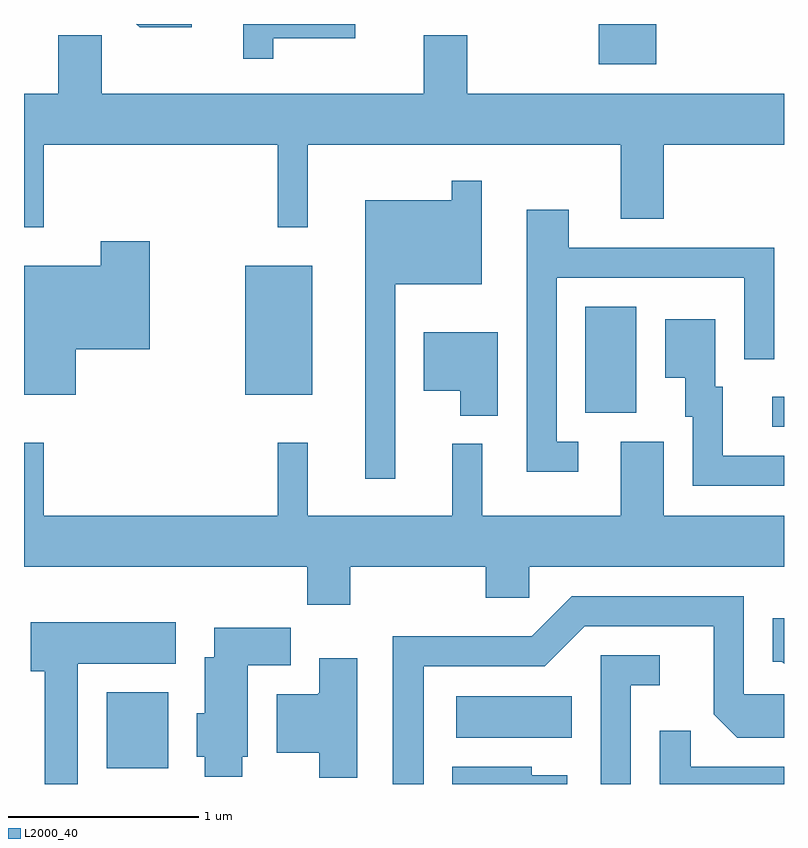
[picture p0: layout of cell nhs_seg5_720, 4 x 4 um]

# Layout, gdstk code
import gdstk
lib = gdstk.Library(unit=1e-6, precision=1e-09)
def R(c, l, rs):  # rectangles x0, y0, x1, y1
    for r in rs: c.add(gdstk.rectangle(r[:2], r[2:], *l))
def P(c, l, *ps):  # polygons
    for p in ps: c.add(gdstk.Polygon(p, *l))
L2000_40 = (2000, 40)

nhs_seg5_720 = lib.new_cell('nhs_seg5_720')
R(nhs_seg5_720, L2000_40, [(206.046,1480.156,206.369,1480.554), (207.886,1480.316,208.494,1480.534), (209.548,1481.951,209.611,1482.109), (208.566,1482.026,208.834,1482.584), (206.776,1482.121,207.129,1482.799), (208.636,1483.861,208.939,1484.072), (208.231,1484.071,208.464,1484.072)])
P(nhs_seg5_720, L2000_40, [(206.924,1483.996),(207.354,1483.996),(207.354,1484.072),(206.766,1484.072),(206.766,1483.888),(206.924,1483.888)],
  [(206.493,1484.072),(206.203,1484.072),(206.219,1484.056),(206.493,1484.056)],
  [(205.714,1483.436),(206.946,1483.436),(206.946,1483.003),(207.104,1483.003),(207.104,1483.436),(208.751,1483.436),(208.751,1483.046),(208.979,1483.046),(208.979,1483.436),(209.611,1483.436),(209.611,1483.704),(207.944,1483.704),(207.944,1484.014),(207.716,1484.014),(207.716,1483.704),(206.019,1483.704),(206.019,1484.014),(205.791,1484.014),(205.791,1483.704),(205.611,1483.704),(205.611,1483.003),(205.714,1483.003)],
  [(207.564,1482.701),(208.019,1482.701),(208.019,1483.248),(207.861,1483.248),(207.861,1483.144),(207.406,1483.144),(207.406,1481.678),(207.564,1481.678)],
  [(208.528,1481.874),(208.414,1481.874),(208.414,1482.736),(209.401,1482.736),(209.401,1482.308),(209.559,1482.308),(209.559,1482.894),(208.479,1482.894),(208.479,1483.094),(208.256,1483.094),(208.256,1481.716),(208.528,1481.716)],
  [(205.884,1482.361),(206.274,1482.361),(206.274,1482.929),(206.016,1482.929),(206.016,1482.799),(205.611,1482.799),(205.611,1482.121),(205.884,1482.121)],
  [(209.611,1481.799),(209.289,1481.799),(209.289,1482.164),(209.249,1482.164),(209.249,1482.519),(208.986,1482.519),(208.986,1482.211),(209.091,1482.211),(209.091,1482.006),(209.131,1482.006),(209.131,1481.641),(209.611,1481.641)],
  [(208.104,1482.449),(207.716,1482.449),(207.716,1482.141),(207.906,1482.141),(207.906,1482.011),(208.104,1482.011)],
  [(207.329,1481.216),(208.041,1481.216),(208.041,1481.051),(208.269,1481.051),(208.269,1481.216),(209.611,1481.216),(209.611,1481.484),(208.979,1481.484),(208.979,1481.874),(208.751,1481.874),(208.751,1481.484),(208.024,1481.484),(208.024,1481.863),(207.866,1481.863),(207.866,1481.484),(207.104,1481.484),(207.104,1481.868),(206.946,1481.868),(206.946,1481.484),(205.714,1481.484),(205.714,1481.868),(205.611,1481.868),(205.611,1481.216),(207.101,1481.216),(207.101,1481.016),(207.329,1481.016)],
  [(207.714,1480.691),(208.352,1480.691),(208.562,1480.901),(209.241,1480.901),(209.241,1480.439),(209.364,1480.316),(209.611,1480.316),(209.611,1480.544),(209.399,1480.544),(209.399,1481.059),(208.494,1481.059),(208.284,1480.849),(207.551,1480.849),(207.551,1480.072),(207.714,1480.072)],
  [(209.611,1480.944),(209.551,1480.944),(209.551,1480.716),(209.599,1480.716),(209.611,1480.704)],
  [(205.894,1480.706),(206.409,1480.706),(206.409,1480.924),(205.646,1480.924),(205.646,1480.666),(205.721,1480.666),(205.721,1480.072),(205.894,1480.072)],
  [(206.759,1480.216),(206.789,1480.216),(206.789,1480.696),(207.014,1480.696),(207.014,1480.894),(206.611,1480.894),(206.611,1480.739),(206.561,1480.739),(206.561,1480.444),(206.521,1480.444),(206.521,1480.216),(206.561,1480.216),(206.561,1480.111),(206.759,1480.111)],
  [(208.804,1480.591),(208.958,1480.591),(208.958,1480.749),(208.646,1480.749),(208.646,1480.072),(208.804,1480.072)],
  [(207.364,1480.734),(207.166,1480.734),(207.166,1480.55),(207.16,1480.55),(207.16,1480.544),(206.941,1480.544),(206.941,1480.236),(207.166,1480.236),(207.166,1480.106),(207.364,1480.106)],
  [(209.611,1480.164),(209.119,1480.164),(209.119,1480.353),(208.956,1480.353),(208.956,1480.072),(209.611,1480.072)],
  [(208.469,1480.119),(208.284,1480.119),(208.284,1480.164),(207.866,1480.164),(207.866,1480.072),(208.469,1480.072)])

lib.write_gds('nhs_seg5_720.gds')
